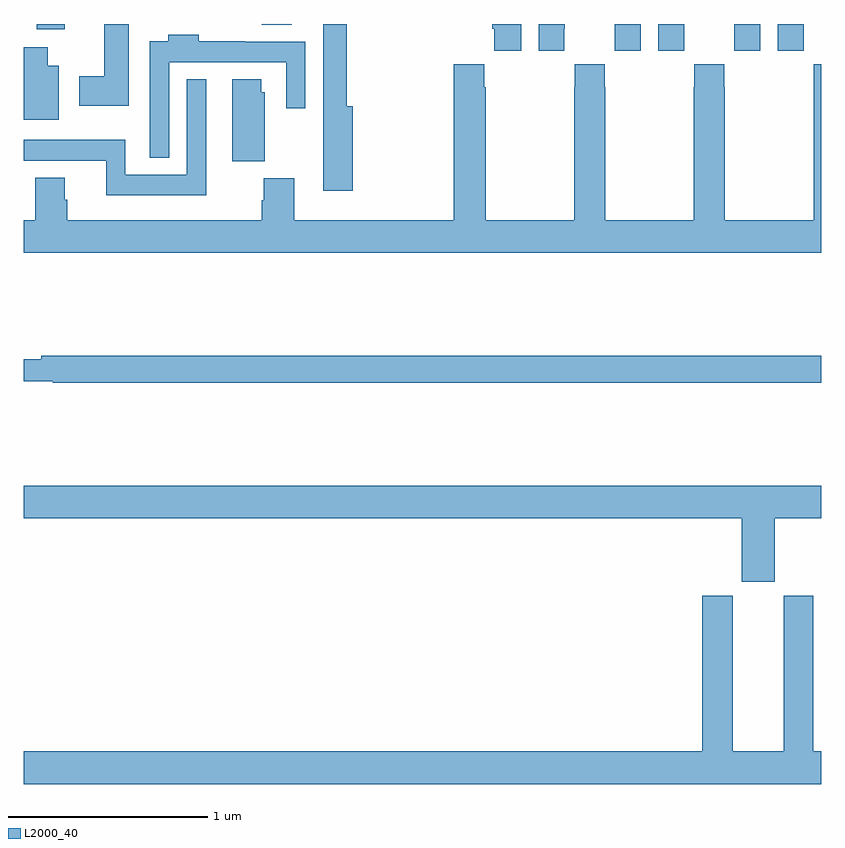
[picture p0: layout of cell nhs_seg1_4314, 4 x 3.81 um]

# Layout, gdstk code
import gdstk
lib = gdstk.Library(unit=1e-6, precision=1e-09)
def R(c, l, rs):  # rectangles x0, y0, x1, y1
    for r in rs: c.add(gdstk.rectangle(r[:2], r[2:], *l))
def P(c, l, *ps):  # polygons
    for p in ps: c.add(gdstk.Polygon(p, *l))
L2000_40 = (2000, 40)

nhs_seg1_4314 = lib.new_cell('nhs_seg1_4314')
R(nhs_seg1_4314, L2000_40, [(345.065,566.172,345.205,566.199), (346.193,566.195,346.345,566.199)])
P(nhs_seg1_4314, L2000_40, [(347.494,566.199),(347.351,566.199),(347.351,566.176),(347.36,566.176),(347.36,566.064),(347.494,566.064)],
  [(347.712,566.176),(347.713,566.176),(347.713,566.199),(347.582,566.199),(347.582,566.064),(347.712,566.064)],
  [(348.094,566.199),(347.963,566.199),(347.963,566.176),(347.964,566.176),(347.964,566.064),(348.094,566.064)],
  [(348.312,566.176),(348.313,566.176),(348.313,566.199),(348.182,566.199),(348.182,566.064),(348.312,566.064)],
  [(348.694,566.199),(348.563,566.199),(348.563,566.176),(348.564,566.176),(348.564,566.064),(348.694,566.064)],
  [(348.912,566.176),(348.913,566.176),(348.913,566.199),(348.782,566.199),(348.782,566.064),(348.912,566.064)],
  [(345.526,566.199),(345.404,566.199),(345.404,565.938),(345.279,565.938),(345.279,565.79),(345.526,565.79)],
  [(346.649,565.786),(346.619,565.786),(346.619,566.197),(346.503,566.197),(346.503,565.682),(346.502,565.682),(346.502,565.362),(346.649,565.362)],
  [(345.729,566.006),(346.317,566.006),(346.317,565.776),(346.413,565.776),(346.413,566.11),(346.109,566.11),(346.109,566.113),(345.878,566.113),(345.878,566.146),(345.725,566.146),(345.725,566.113),(345.633,566.113),(345.633,565.529),(345.729,565.529)],
  [(345.175,565.99),(345.121,565.99),(345.121,566.083),(345,566.083),(345,565.718),(345.175,565.718)],
  [(349,565.996),(348.963,565.996),(348.963,565.883),(348.961,565.883),(348.961,565.216),(348.516,565.216),(348.516,565.883),(348.513,565.883),(348.513,565.996),(348.363,565.996),(348.363,565.883),(348.361,565.883),(348.361,565.216),(347.916,565.216),(347.916,565.883),(347.913,565.883),(347.913,565.996),(347.763,565.996),(347.763,565.883),(347.761,565.883),(347.761,565.216),(347.316,565.216),(347.316,565.883),(347.309,565.883),(347.309,565.996),(347.156,565.996),(347.156,565.216),(346.358,565.216),(346.358,565.425),(346.205,565.425),(346.205,565.316),(346.193,565.316),(346.193,565.216),(345.218,565.216),(345.218,565.317),(345.205,565.317),(345.205,565.429),(345.058,565.429),(345.058,565.216),(345,565.216),(345,565.052),(349,565.052)],
  [(345.916,565.921),(345.819,565.921),(345.819,565.444),(345.51,565.444),(345.51,565.618),(345,565.618),(345,565.514),(345.413,565.514),(345.413,565.34),(345.916,565.34)],
  [(346.21,565.857),(346.192,565.857),(346.192,565.921),(346.046,565.921),(346.046,565.51),(346.21,565.51)],
  [(349,564.536),(345.088,564.536),(345.088,564.517),(345,564.517),(345,564.408),(345.145,564.408),(345.145,564.4),(349,564.4)],
  [(348.766,563.72),(349,563.72),(349,563.884),(345,563.884),(345,563.72),(348.602,563.72),(348.602,563.403),(348.766,563.403)],
  [(349,562.552),(348.96,562.552),(348.96,563.331),(348.812,563.331),(348.812,562.552),(348.556,562.552),(348.556,563.331),(348.404,563.331),(348.404,562.552),(345,562.552),(345,562.388),(349,562.388)])

lib.write_gds('nhs_seg1_4314.gds')
